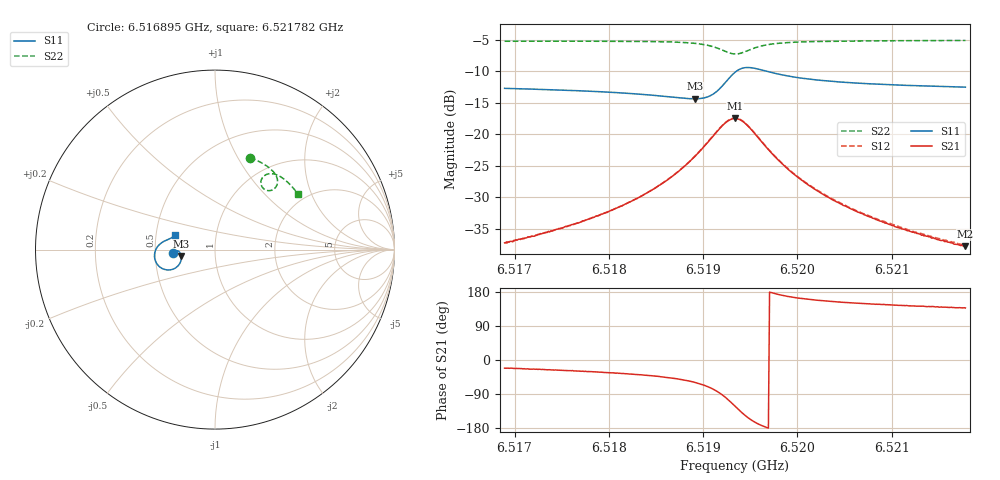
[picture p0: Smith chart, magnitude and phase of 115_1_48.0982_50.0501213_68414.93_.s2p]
#  HZ  S  RI  R  50.00
! Rohde & Schwarz Vector Network Analyzer
! Rohde-Schwarz,ZNB20-2Port,1311601062101988,3.16
! Created: UTC 12/23/2023, 3:46:10 AM
! freq[Hz]  re:S11  im:S11  re:S21  im:S21  re:S12  im:S12  re:S22  im:S22
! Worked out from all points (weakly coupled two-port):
!   401 points, 6.516895 GHz to 6.521782 GHz, reference 50 ohm
!   highest |S21| = -17.47 dB at 6.519339 GHz (marker M1); lowest = -37.7 dB at 6.521782 GHz (marker M2)
!   lowest |S11| = -14.4 dB at 6.518911 GHz (marker M3), VSWR 1.47, Z = 34.1 - j2.48 ohm
!   |S11| at or under -10 dB: start of sweep to 6.519351 GHz; 6.51968 GHz to end of sweep
!   |S22| runs from -7.2 to -5.1 dB; largest |S21 - S12| = 0.0042
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6.5168948e9  -0.2312 -0.0192  0.0128 -0.00508  0.0129 -0.00459  0.1959 0.5121
6.5172125e9  -0.228 -0.0143  0.0142 -0.00638  0.0146 -0.00602  0.2194 0.5027
6.5177134e9  -0.2213 -0.00809  0.0177 -0.0101  0.018 -0.0094  0.2564 0.4851
6.5181533e9  -0.213 -0.00555  0.0224 -0.016  0.0229 -0.0153  0.2894 0.4648
6.5185321e9  -0.2021 -0.00957  0.0287 -0.0271  0.0294 -0.0263  0.3186 0.4409
6.5187276e9  -0.1949 -0.0178  0.0323 -0.0382  0.0337 -0.0374  0.3338 0.4231
6.5189109e9  -0.1884 -0.0351  0.0344 -0.0572  0.0364 -0.0563  0.3458 0.3987
6.5190209e9  -0.1882 -0.0537  0.0313 -0.0756  0.0337 -0.0751  0.3486 0.3778
6.5191064e9  -0.1948 -0.0747  0.0219 -0.0946  0.025 -0.0946  0.3442 0.3579
6.5192408e9  -0.2363 -0.1098  -0.0202 -0.1225  -0.0169 -0.124  0.3127 0.3298
6.5192897e9  -0.2634 -0.1135  -0.0454 -0.1231  -0.042 -0.1254  0.2931 0.3289
6.5193386e9  -0.2924 -0.1063  -0.0706 -0.1137  -0.0678 -0.1165  0.2741 0.3367
6.5193874e9  -0.3167 -0.0882  -0.0903 -0.0952  -0.0882 -0.0985  0.2607 0.3522
6.5194485e9  -0.3338 -0.0575  -0.1021 -0.0668  -0.1009 -0.0702  0.2555 0.3756
6.5195463e9  -0.3343 -0.0131  -0.0979 -0.0287  -0.0978 -0.0317  0.2676 0.4047
6.5196563e9  -0.3191 0.0176  -0.0814 -0.00515  -0.0818 -0.00738  0.29 0.4198
6.5199006e9  -0.2872 0.0445  -0.0518 0.0113  -0.0529 0.00994  0.3311 0.4207
6.5201572e9  -0.2674 0.0538  -0.0354 0.0136  -0.0363 0.0127  0.3598 0.4089
6.5205482e9  -0.2502 0.0612  -0.0229 0.0126  -0.0236 0.012  0.3913 0.3872
6.5209759e9  -0.2386 0.0676  -0.016 0.0109  -0.0166 0.0108  0.4185 0.3617
6.5215013e9  -0.2283 0.0749  -0.0111 0.00946  -0.0117 0.00932  0.4466 0.3301
6.5217824e9  -0.2236 0.0788  -0.00956 0.00881  -0.01 0.00857  0.4602 0.3125
